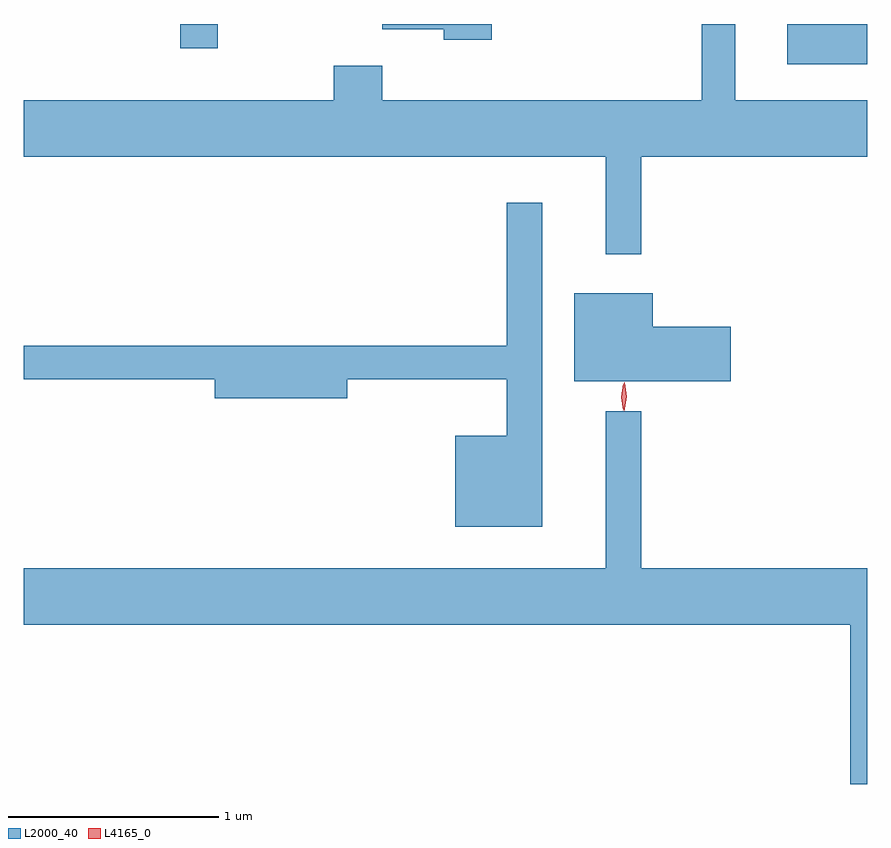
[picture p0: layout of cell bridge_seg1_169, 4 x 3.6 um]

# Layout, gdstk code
import gdstk
lib = gdstk.Library(unit=1e-6, precision=1e-09)
def R(c, l, rs):  # rectangles x0, y0, x1, y1
    for r in rs: c.add(gdstk.rectangle(r[:2], r[2:], *l))
def P(c, l, *ps):  # polygons
    for p in ps: c.add(gdstk.Polygon(p, *l))
L2000_40 = (2000, 40)
L4165_0 = (4165, 0)

bridge_seg1_169 = lib.new_cell('bridge_seg1_169')
R(bridge_seg1_169, L2000_40, [(732.281,939.976,732.66,940.166), (729.401,940.051,729.579,940.166)])
P(bridge_seg1_169, L2000_40, [(731.589,939.536),(732.66,939.536),(732.66,939.804),(732.034,939.804),(732.034,940.166),(731.876,940.166),(731.876,939.804),(730.359,939.804),(730.359,939.969),(730.131,939.969),(730.131,939.804),(728.66,939.804),(728.66,939.536),(731.421,939.536),(731.421,939.073),(731.589,939.073)],
  [(730.879,940.166),(730.361,940.166),(730.361,940.141),(730.651,940.141),(730.651,940.091),(730.879,940.091)],
  [(731.119,939.318),(730.951,939.318),(730.951,938.639),(728.66,938.639),(728.66,938.481),(729.566,938.481),(729.566,938.391),(730.194,938.391),(730.194,938.481),(730.951,938.481),(730.951,938.214),(730.706,938.214),(730.706,937.781),(731.119,937.781)],
  [(732.014,938.729),(731.644,938.729),(731.644,938.889),(731.271,938.889),(731.271,938.471),(732.014,938.471)],
  [(731.589,938.328),(731.421,938.328),(731.421,937.584),(728.66,937.584),(728.66,937.316),(732.581,937.316),(732.581,936.561),(732.66,936.561),(732.66,937.584),(731.589,937.584)])
P(bridge_seg1_169, L4165_0, [(731.503,938.333),(731.502,938.334),(731.493,938.396),(731.502,938.459),(731.502,938.46),(731.503,938.459),(731.513,938.396),(731.504,938.334)],
  [(731.508,938.33),(731.508,938.33),(731.499,938.398),(731.509,938.465),(731.51,938.466),(731.51,938.465),(731.519,938.398),(731.509,938.33)])

lib.write_gds('bridge_seg1_169.gds')
